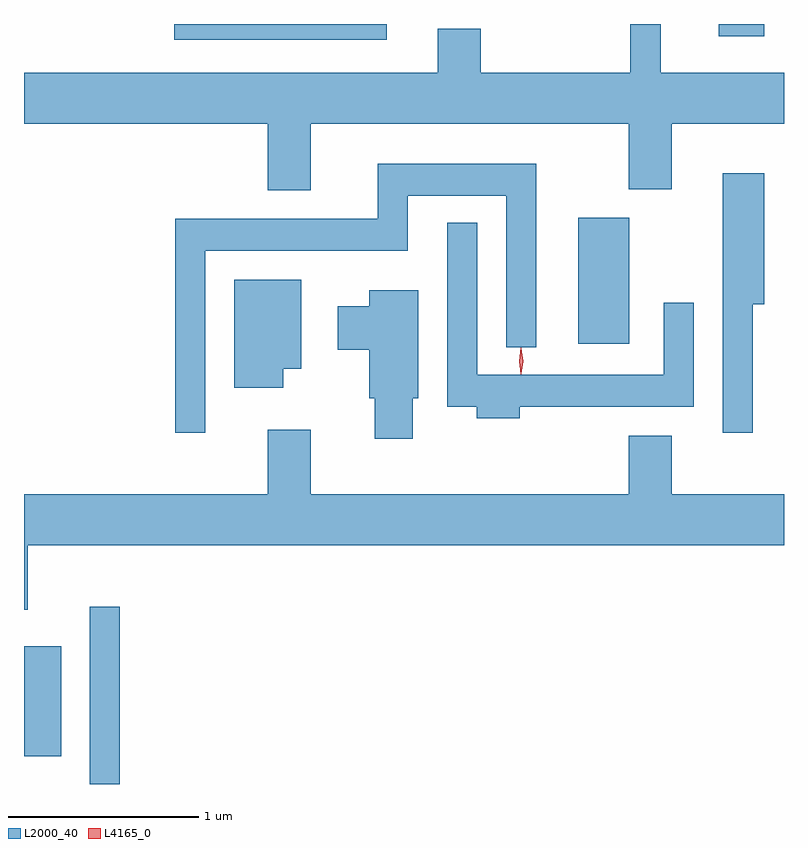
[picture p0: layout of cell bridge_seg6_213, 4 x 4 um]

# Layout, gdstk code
import gdstk
lib = gdstk.Library(unit=1e-6, precision=1e-09)
def R(c, l, rs):  # rectangles x0, y0, x1, y1
    for r in rs: c.add(gdstk.rectangle(r[:2], r[2:], *l))
def P(c, l, *ps):  # polygons
    for p in ps: c.add(gdstk.Polygon(p, *l))
L2000_40 = (2000, 40)
L4165_0 = (4165, 0)

bridge_seg6_213 = lib.new_cell('bridge_seg6_213')
R(bridge_seg6_213, L2000_40, [(1095.506,1551,1095.664,1551.933), (1095.159,1551.146,1095.354,1551.724), (1098.076,1553.316,1098.344,1553.979), (1095.951,1554.916,1097.069,1555), (1098.816,1554.936,1099.054,1555)])
P(bridge_seg6_213, L2000_40, [(1096.669,1554.476),(1098.341,1554.476),(1098.341,1554.131),(1098.569,1554.131),(1098.569,1554.476),(1099.159,1554.476),(1099.159,1554.744),(1098.509,1554.744),(1098.509,1555),(1098.351,1555),(1098.351,1554.744),(1097.564,1554.744),(1097.564,1554.974),(1097.336,1554.974),(1097.336,1554.744),(1095.159,1554.744),(1095.159,1554.476),(1096.441,1554.476),(1096.441,1554.126),(1096.669,1554.126)],
  [(1096.114,1553.806),(1097.179,1553.806),(1097.179,1554.096),(1097.696,1554.096),(1097.696,1553.298),(1097.854,1553.298),(1097.854,1554.264),(1097.021,1554.264),(1097.021,1553.974),(1095.956,1553.974),(1095.956,1552.848),(1096.114,1552.848)],
  [(1098.994,1553.526),(1099.054,1553.526),(1099.054,1554.214),(1098.836,1554.214),(1098.836,1552.848),(1098.994,1552.848)],
  [(1097.769,1552.986),(1098.684,1552.986),(1098.684,1553.533),(1098.526,1553.533),(1098.526,1553.154),(1097.544,1553.154),(1097.544,1553.953),(1097.386,1553.953),(1097.386,1552.986),(1097.541,1552.986),(1097.541,1552.926),(1097.769,1552.926)],
  [(1096.524,1553.186),(1096.619,1553.186),(1096.619,1553.654),(1096.266,1553.654),(1096.266,1553.086),(1096.524,1553.086)],
  [(1097.204,1553.031),(1097.234,1553.031),(1097.234,1553.599),(1096.976,1553.599),(1096.976,1553.514),(1096.811,1553.514),(1096.811,1553.286),(1096.976,1553.286),(1096.976,1553.031),(1097.006,1553.031),(1097.006,1552.816),(1097.204,1552.816)],
  [(1095.179,1552.256),(1099.159,1552.256),(1099.159,1552.524),(1098.569,1552.524),(1098.569,1552.834),(1098.341,1552.834),(1098.341,1552.524),(1096.669,1552.524),(1096.669,1552.864),(1096.441,1552.864),(1096.441,1552.524),(1095.159,1552.524),(1095.159,1551.916),(1095.179,1551.916)])
P(bridge_seg6_213, L4165_0, [(1097.774,1553.157),(1097.765,1553.226),(1097.774,1553.296),(1097.775,1553.296),(1097.775,1553.296),(1097.785,1553.226),(1097.775,1553.157),(1097.775,1553.157)],
  [(1097.777,1553.159),(1097.776,1553.16),(1097.767,1553.226),(1097.776,1553.292),(1097.777,1553.293),(1097.777,1553.292),(1097.787,1553.226),(1097.777,1553.16)])

lib.write_gds('bridge_seg6_213.gds')
